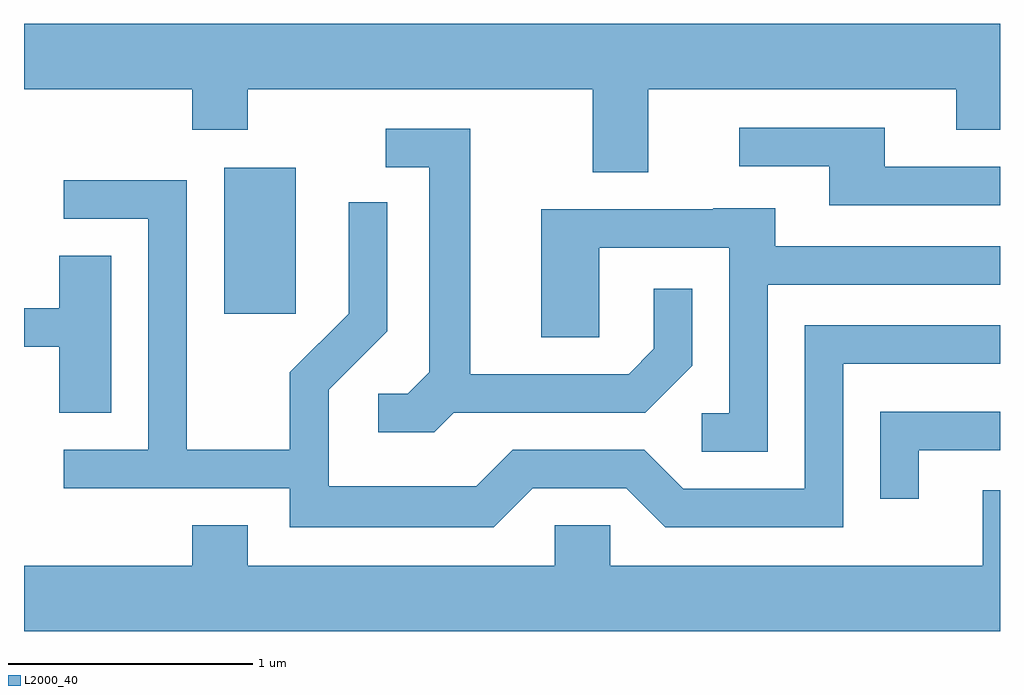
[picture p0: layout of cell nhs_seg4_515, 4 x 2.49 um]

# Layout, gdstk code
import gdstk
lib = gdstk.Library(unit=1e-6, precision=1e-09)
def R(c, l, rs):  # rectangles x0, y0, x1, y1
    for r in rs: c.add(gdstk.rectangle(r[:2], r[2:], *l))
def P(c, l, *ps):  # polygons
    for p in ps: c.add(gdstk.Polygon(p, *l))
L2000_40 = (2000, 40)

nhs_seg4_515 = lib.new_cell('nhs_seg4_515')
R(nhs_seg4_515, L2000_40, [(200.431,1333.776,200.724,1334.374)])
P(nhs_seg4_515, L2000_40, [(202.169,1334.696),(203.431,1334.696),(203.431,1334.531),(203.611,1334.531),(203.611,1334.964),(199.611,1334.964),(199.611,1334.696),(200.301,1334.696),(200.301,1334.531),(200.529,1334.531),(200.529,1334.696),(201.941,1334.696),(201.941,1334.356),(202.169,1334.356)],
  [(203.611,1334.379),(203.139,1334.379),(203.139,1334.539),(202.543,1334.539),(202.543,1334.381),(202.911,1334.381),(202.911,1334.221),(203.611,1334.221)],
  [(201.372,1333.371),(202.157,1333.371),(202.349,1333.564),(202.349,1333.878),(202.191,1333.878),(202.191,1333.632),(202.089,1333.529),(201.439,1333.529),(201.439,1334.534),(201.093,1334.534),(201.093,1334.376),(201.271,1334.376),(201.271,1333.537),(201.184,1333.449),(201.063,1333.449),(201.063,1333.291),(201.292,1333.291)],
  [(201.697,1333.061),(202.079,1333.061),(202.239,1332.901),(202.969,1332.901),(202.969,1333.571),(203.611,1333.571),(203.611,1333.729),(202.811,1333.729),(202.811,1333.059),(202.312,1333.059),(202.152,1333.219),(201.614,1333.219),(201.464,1333.069),(200.859,1333.069),(200.859,1333.464),(201.099,1333.704),(201.099,1334.233),(200.941,1334.233),(200.941,1333.777),(200.701,1333.537),(200.701,1333.219),(200.279,1333.219),(200.279,1334.324),(199.773,1334.324),(199.773,1334.166),(200.121,1334.166),(200.121,1333.219),(199.773,1333.219),(199.773,1333.061),(200.701,1333.061),(200.701,1332.901),(201.537,1332.901)],
  [(202.659,1333.896),(203.611,1333.896),(203.611,1334.054),(202.689,1334.054),(202.689,1334.209),(202.435,1334.209),(202.435,1334.204),(201.731,1334.204),(201.731,1333.681),(201.969,1333.681),(201.969,1334.046),(202.501,1334.046),(202.501,1333.369),(202.388,1333.369),(202.388,1333.211),(202.659,1333.211)],
  [(199.969,1334.014),(199.756,1334.014),(199.756,1333.799),(199.611,1333.799),(199.611,1333.641),(199.756,1333.641),(199.756,1333.371),(199.969,1333.371)],
  [(203.279,1333.216),(203.611,1333.216),(203.611,1333.374),(203.121,1333.374),(203.121,1333.018),(203.279,1333.018)],
  [(203.611,1333.054),(203.541,1333.054),(203.541,1332.744),(202.014,1332.744),(202.014,1332.909),(201.786,1332.909),(201.786,1332.744),(200.529,1332.744),(200.529,1332.909),(200.301,1332.909),(200.301,1332.744),(199.611,1332.744),(199.611,1332.476),(203.611,1332.476)])

lib.write_gds('nhs_seg4_515.gds')
